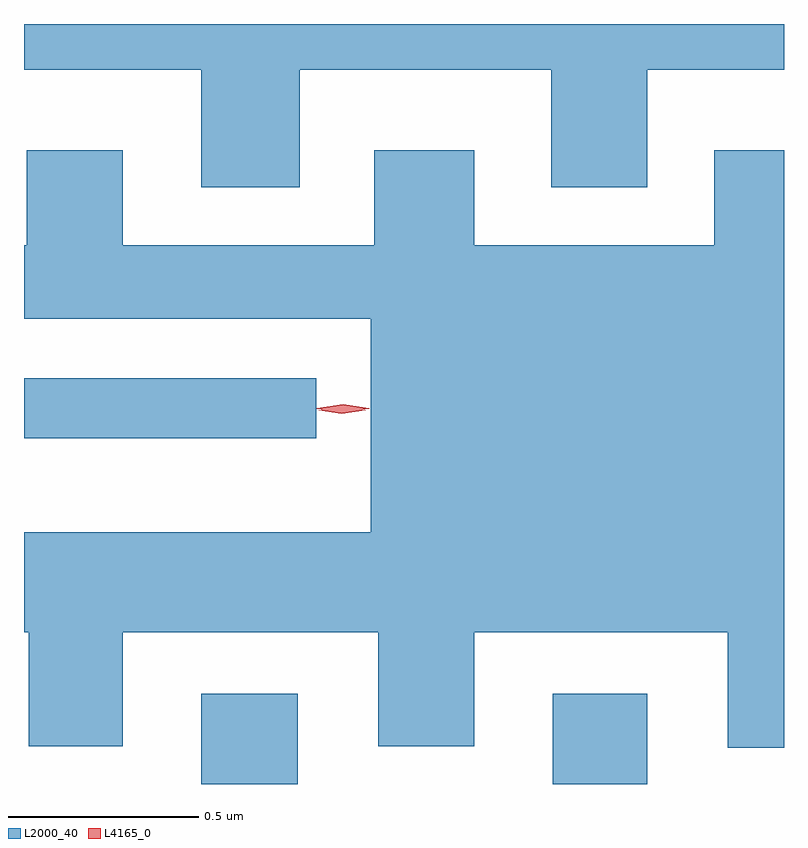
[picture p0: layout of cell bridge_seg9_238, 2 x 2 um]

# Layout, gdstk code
import gdstk
lib = gdstk.Library(unit=1e-6, precision=1e-09)
def R(c, l, rs):  # rectangles x0, y0, x1, y1
    for r in rs: c.add(gdstk.rectangle(r[:2], r[2:], *l))
def P(c, l, *ps):  # polygons
    for p in ps: c.add(gdstk.Polygon(p, *l))
L2000_40 = (2000, 40)
L4165_0 = (4165, 0)

bridge_seg9_238 = lib.new_cell('bridge_seg9_238')
R(bridge_seg9_238, L2000_40, [(1344.686,1989.936,1344.939,1990.174), (1345.611,1989.936,1345.859,1990.174), (1344.219,1990.846,1344.988,1991.004)])
P(bridge_seg9_238, L2000_40, [(1344.944,1991.816),(1345.606,1991.816),(1345.606,1991.506),(1345.859,1991.506),(1345.859,1991.816),(1346.219,1991.816),(1346.219,1991.936),(1344.219,1991.936),(1344.219,1991.816),(1344.686,1991.816),(1344.686,1991.506),(1344.944,1991.506)],
  [(1346.219,1991.604),(1346.036,1991.604),(1346.036,1991.354),(1345.404,1991.354),(1345.404,1991.604),(1345.141,1991.604),(1345.141,1991.354),(1344.479,1991.354),(1344.479,1991.604),(1344.226,1991.604),(1344.226,1991.354),(1344.219,1991.354),(1344.219,1991.161),(1345.131,1991.161),(1345.131,1990.599),(1344.219,1990.599),(1344.219,1990.336),(1344.231,1990.336),(1344.231,1990.036),(1344.479,1990.036),(1344.479,1990.336),(1345.151,1990.336),(1345.151,1990.036),(1345.404,1990.036),(1345.404,1990.336),(1346.071,1990.336),(1346.071,1990.031),(1346.219,1990.031)])
P(bridge_seg9_238, L4165_0, [(1345.055,1990.91),(1344.994,1990.919),(1344.993,1990.92),(1344.994,1990.92),(1345.055,1990.93),(1345.117,1990.92),(1345.118,1990.92),(1345.117,1990.919)],
  [(1345.059,1990.915),(1344.99,1990.924),(1344.99,1990.925),(1344.99,1990.925),(1345.059,1990.935),(1345.128,1990.925),(1345.128,1990.925),(1345.128,1990.924)])

lib.write_gds('bridge_seg9_238.gds')
